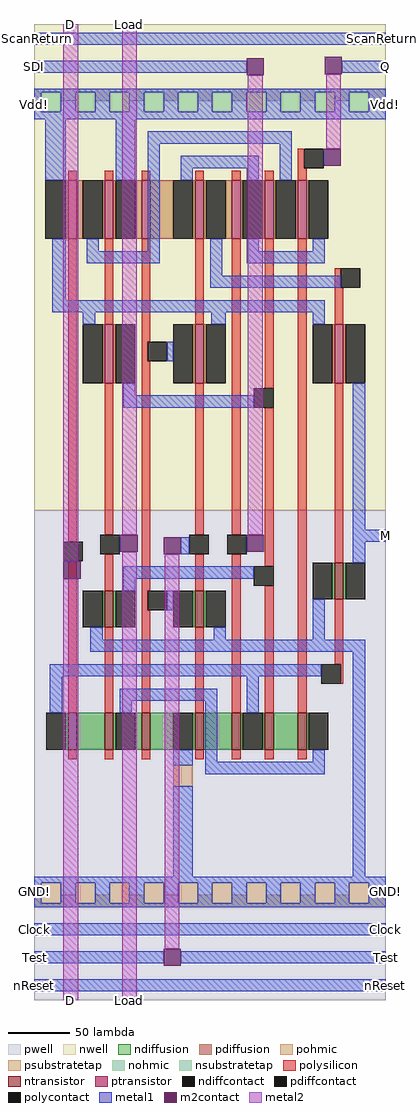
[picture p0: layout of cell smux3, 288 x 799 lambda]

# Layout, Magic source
magic
tech c035u
<< nwell >>
rect 0 401 288 799
<< pwell >>
rect 0 0 288 401
<< polysilicon >>
rect 216 681 221 697
rect 28 671 35 679
rect 58 671 65 679
rect 88 671 95 679
rect 132 671 139 679
rect 162 671 169 679
rect 189 671 196 679
rect 216 671 223 681
rect 28 375 35 623
rect 58 553 65 623
rect 88 539 95 623
rect 132 553 139 623
rect 88 523 93 539
rect 58 381 65 505
rect 28 235 35 359
rect 58 335 65 365
rect 88 335 95 523
rect 132 381 139 505
rect 162 381 169 623
rect 189 501 196 623
rect 132 335 139 365
rect 88 319 93 335
rect 58 235 65 305
rect 88 235 95 319
rect 132 235 139 305
rect 162 235 169 365
rect 189 355 196 485
rect 189 235 196 339
rect 216 235 223 623
rect 246 583 251 599
rect 246 553 253 583
rect 246 358 253 505
rect 246 275 253 328
rect 251 259 253 275
rect 28 197 35 205
rect 58 197 65 205
rect 88 197 95 205
rect 132 197 139 205
rect 162 197 169 205
rect 189 197 196 205
rect 216 197 223 205
<< ndiffusion >>
rect 56 305 58 335
rect 65 305 67 335
rect 130 305 132 335
rect 139 305 141 335
rect 244 328 246 358
rect 253 328 255 358
rect 26 205 28 235
rect 35 205 58 235
rect 65 205 67 235
rect 83 205 88 235
rect 95 205 114 235
rect 130 205 132 235
rect 139 205 162 235
rect 169 205 171 235
rect 187 205 189 235
rect 196 205 216 235
rect 223 205 225 235
<< pdiffusion >>
rect 26 623 28 671
rect 35 623 40 671
rect 56 623 58 671
rect 65 623 67 671
rect 83 623 88 671
rect 95 623 114 671
rect 130 623 132 671
rect 139 623 141 671
rect 157 623 162 671
rect 169 623 171 671
rect 187 623 189 671
rect 196 623 198 671
rect 214 623 216 671
rect 223 623 225 671
rect 56 505 58 553
rect 65 505 67 553
rect 130 505 132 553
rect 139 505 141 553
rect 244 505 246 553
rect 253 505 255 553
<< pohmic >>
rect 0 79 6 86
rect 22 79 34 86
rect 50 79 62 86
rect 78 79 90 86
rect 106 79 118 86
rect 134 79 146 86
rect 162 79 174 86
rect 190 79 202 86
rect 218 79 230 86
rect 246 79 258 86
rect 274 79 288 86
rect 0 76 288 79
<< nohmic >>
rect 0 743 288 746
rect 0 736 6 743
rect 22 736 34 743
rect 50 736 62 743
rect 78 736 90 743
rect 106 736 118 743
rect 134 736 146 743
rect 162 736 174 743
rect 190 736 202 743
rect 218 736 230 743
rect 246 736 258 743
rect 274 736 288 743
<< ntransistor >>
rect 58 305 65 335
rect 132 305 139 335
rect 246 328 253 358
rect 28 205 35 235
rect 58 205 65 235
rect 88 205 95 235
rect 132 205 139 235
rect 162 205 169 235
rect 189 205 196 235
rect 216 205 223 235
<< ptransistor >>
rect 28 623 35 671
rect 58 623 65 671
rect 88 623 95 671
rect 132 623 139 671
rect 162 623 169 671
rect 189 623 196 671
rect 216 623 223 671
rect 58 505 65 553
rect 132 505 139 553
rect 246 505 253 553
<< polycontact >>
rect 221 681 237 697
rect 93 523 109 539
rect 24 359 40 375
rect 54 365 70 381
rect 180 485 196 501
rect 127 365 143 381
rect 158 365 174 381
rect 93 319 109 335
rect 180 339 196 355
rect 251 583 267 599
rect 235 259 251 275
<< ndiffcontact >>
rect 40 305 56 335
rect 67 305 83 335
rect 114 305 130 335
rect 141 305 157 335
rect 228 328 244 358
rect 255 328 271 358
rect 10 205 26 235
rect 67 205 83 235
rect 114 205 130 235
rect 171 205 187 235
rect 225 205 241 235
<< pdiffcontact >>
rect 9 623 26 671
rect 40 623 56 671
rect 67 623 83 671
rect 114 623 130 671
rect 141 623 157 671
rect 171 623 187 671
rect 198 623 214 671
rect 225 623 241 671
rect 40 505 56 553
rect 67 505 83 553
rect 114 505 130 553
rect 141 505 157 553
rect 228 505 244 553
rect 255 505 271 553
<< psubstratetap >>
rect 114 175 130 192
rect 6 79 22 96
rect 34 79 50 96
rect 62 79 78 96
rect 90 79 106 96
rect 118 79 134 96
rect 146 79 162 96
rect 174 79 190 96
rect 202 79 218 96
rect 230 79 246 96
rect 258 79 274 96
<< nsubstratetap >>
rect 6 727 22 743
rect 34 727 50 743
rect 62 727 78 743
rect 90 727 106 743
rect 118 727 134 743
rect 146 727 162 743
rect 174 727 190 743
rect 202 727 218 743
rect 230 727 246 743
rect 258 727 274 743
<< metal1 >>
rect 0 782 288 792
rect 0 759 174 769
rect 252 759 288 769
rect 0 743 288 746
rect 0 727 6 743
rect 22 727 34 743
rect 50 727 62 743
rect 78 727 90 743
rect 106 727 118 743
rect 134 727 146 743
rect 162 727 174 743
rect 190 727 202 743
rect 218 727 230 743
rect 246 727 258 743
rect 274 727 288 743
rect 0 721 288 727
rect 9 671 26 721
rect 67 671 83 721
rect 93 701 211 711
rect 15 573 26 623
rect 43 613 53 623
rect 93 613 103 701
rect 120 681 184 691
rect 120 671 130 681
rect 174 671 184 681
rect 201 671 211 701
rect 43 603 103 613
rect 144 593 154 623
rect 174 613 184 623
rect 228 613 238 623
rect 174 603 238 613
rect 144 583 251 593
rect 15 563 238 573
rect 40 553 50 563
rect 145 553 157 563
rect 109 523 114 539
rect 228 553 238 563
rect 73 495 83 505
rect 73 485 180 495
rect 261 385 271 505
rect 120 365 127 379
rect 261 375 288 385
rect 261 358 271 375
rect 73 345 180 355
rect 73 335 83 345
rect 109 319 114 335
rect 46 295 56 305
rect 147 295 157 305
rect 228 295 238 328
rect 46 285 271 295
rect 13 265 235 275
rect 13 235 23 265
rect 70 245 150 255
rect 70 235 80 245
rect 114 192 130 205
rect 140 195 150 245
rect 174 235 184 265
rect 228 195 238 205
rect 140 185 238 195
rect 114 101 130 175
rect 261 101 271 285
rect 0 96 288 101
rect 0 79 6 96
rect 22 79 34 96
rect 50 79 62 96
rect 78 79 90 96
rect 106 79 118 96
rect 134 79 146 96
rect 162 79 174 96
rect 190 79 202 96
rect 218 79 230 96
rect 246 79 258 96
rect 274 79 288 96
rect 0 76 288 79
rect 0 53 288 63
rect 0 30 106 40
rect 120 30 288 40
rect 0 7 288 17
<< m2contact >>
rect 174 757 188 771
rect 238 758 252 772
rect 237 683 251 697
rect 70 367 85 381
rect 106 365 120 379
rect 174 367 188 381
rect 24 345 38 359
rect 106 28 120 42
<< metal2 >>
rect 24 359 36 799
rect 72 381 84 799
rect 175 743 187 757
rect 174 727 187 743
rect 175 381 187 727
rect 239 697 251 758
rect 24 0 36 345
rect 72 0 84 367
rect 107 42 119 365
<< labels >>
rlabel metal1 0 782 0 792 3 ScanReturn
rlabel metal1 0 759 0 769 3 SDI
rlabel metal1 0 721 0 746 3 Vdd!
rlabel metal1 288 721 288 746 1 Vdd!
rlabel metal1 288 759 288 769 7 Q
rlabel metal1 288 782 288 792 7 ScanReturn
rlabel metal2 24 799 36 799 5 D
rlabel metal1 0 76 0 101 3 GND!
rlabel metal1 0 30 0 40 3 Test
rlabel metal1 0 7 0 17 2 nReset
rlabel metal1 0 53 0 63 3 Clock
rlabel metal1 288 53 288 63 7 Clock
rlabel metal1 288 30 288 40 7 Test
rlabel metal1 288 7 288 17 8 nReset
rlabel metal1 288 76 288 101 7 GND!
rlabel metal2 24 0 36 0 1 D
rlabel metal1 288 375 288 385 7 M
rlabel metal2 72 0 84 0 1 Load
rlabel metal2 72 799 84 799 5 Load
<< end >>
